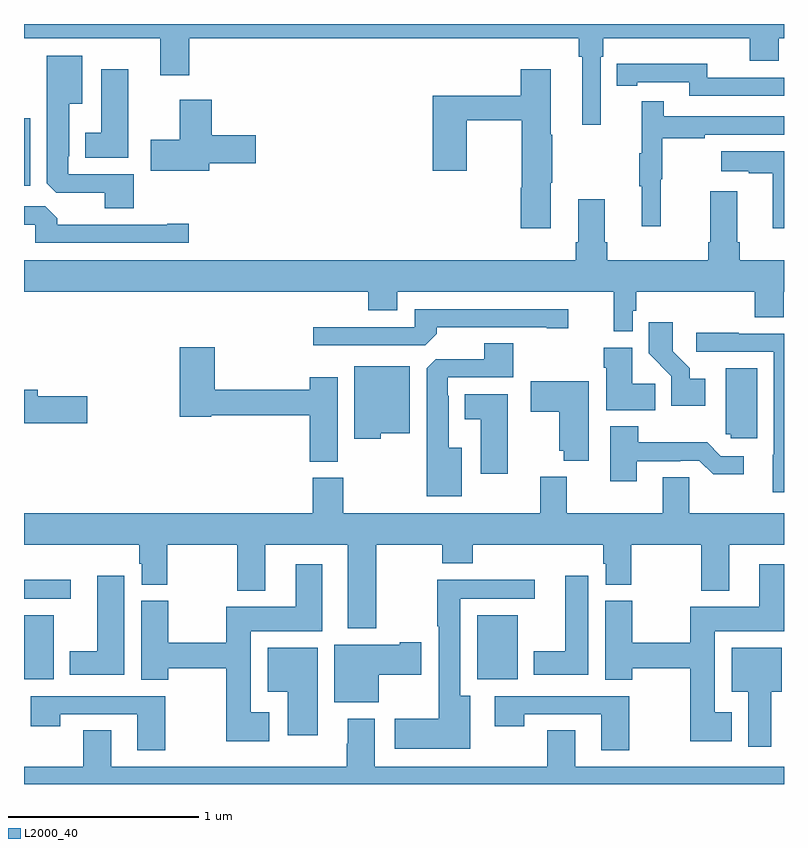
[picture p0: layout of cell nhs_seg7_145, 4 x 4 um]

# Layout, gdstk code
import gdstk
lib = gdstk.Library(unit=1e-6, precision=1e-09)
def R(c, l, rs):  # rectangles x0, y0, x1, y1
    for r in rs: c.add(gdstk.rectangle(r[:2], r[2:], *l))
def P(c, l, *ps):  # polygons
    for p in ps: c.add(gdstk.Polygon(p, *l))
L2000_40 = (2000, 40)

nhs_seg7_145 = lib.new_cell('nhs_seg7_145')
R(nhs_seg7_145, L2000_40, [(121,1022.552,121.156,1022.887), (123.386,1022.552,123.598,1022.887), (121,1022.976,121.246,1023.074), (121,1025.15,121.033,1025.503)])
P(nhs_seg7_145, L2000_40, [(124.035,1025.828),(124.049,1025.828),(124.049,1025.924),(124.82,1025.924),(124.82,1025.807),(124.973,1025.807),(124.973,1025.924),(125,1025.924),(125,1026),(121,1026),(121,1025.924),(121.718,1025.924),(121.718,1025.73),(121.871,1025.73),(121.871,1025.924),(123.919,1025.924),(123.919,1025.828),(123.938,1025.828),(123.938,1025.469),(124.035,1025.469)],
  [(121.577,1025.208),(121.233,1025.208),(121.233,1025.305),(121.237,1025.305),(121.237,1025.579),(121.306,1025.579),(121.306,1025.833),(121.121,1025.833),(121.121,1025.161),(121.17,1025.112),(121.424,1025.112),(121.424,1025.029),(121.577,1025.029)],
  [(125,1025.718),(124.596,1025.718),(124.596,1025.791),(124.228,1025.791),(124.228,1025.79),(124.12,1025.79),(124.12,1025.674),(124.228,1025.674),(124.228,1025.694),(124.5,1025.694),(124.5,1025.622),(125,1025.622)],
  [(121.549,1025.761),(121.406,1025.761),(121.406,1025.428),(121.322,1025.428),(121.322,1025.297),(121.549,1025.297)],
  [(123.772,1025.164),(123.78,1025.164),(123.78,1025.417),(123.772,1025.417),(123.772,1025.761),(123.614,1025.761),(123.614,1025.623),(123.152,1025.623),(123.152,1025.228),(123.33,1025.228),(123.33,1025.494),(123.619,1025.494),(123.619,1025.138),(123.614,1025.138),(123.614,1024.926),(123.772,1024.926)],
  [(121.975,1025.267),(122.221,1025.267),(122.221,1025.414),(121.988,1025.414),(121.988,1025.602),(121.82,1025.602),(121.82,1025.391),(121.668,1025.391),(121.668,1025.228),(121.975,1025.228)],
  [(124.352,1025.184),(124.36,1025.184),(124.36,1025.398),(124.583,1025.398),(124.583,1025.418),(125,1025.418),(125,1025.514),(124.367,1025.514),(124.367,1025.593),(124.25,1025.593),(124.25,1025.321),(124.239,1025.321),(124.239,1025.147),(124.25,1025.147),(124.25,1024.935),(124.352,1024.935)],
  [(125,1025.329),(124.671,1025.329),(124.671,1025.225),(124.814,1025.225),(124.814,1025.215),(124.94,1025.215),(124.94,1024.926),(125,1024.926)],
  [(124.203,1024.491),(124.223,1024.491),(124.223,1024.592),(124.847,1024.592),(124.847,1024.456),(124.999,1024.456),(124.999,1024.592),(125,1024.592),(125,1024.756),(124.766,1024.756),(124.766,1024.852),(124.753,1024.852),(124.753,1025.119),(124.613,1025.119),(124.613,1024.852),(124.601,1024.852),(124.601,1024.756),(124.07,1024.756),(124.07,1024.852),(124.057,1024.852),(124.057,1025.077),(123.917,1025.077),(123.917,1024.852),(123.905,1024.852),(123.905,1024.756),(121,1024.756),(121,1024.592),(122.813,1024.592),(122.813,1024.493),(122.965,1024.493),(122.965,1024.592),(124.105,1024.592),(124.105,1024.382),(124.203,1024.382)],
  [(121.867,1024.949),(121.754,1024.949),(121.754,1024.944),(121.175,1024.944),(121.175,1024.978),(121.113,1025.04),(121,1025.04),(121,1024.944),(121.059,1024.944),(121.059,1024.848),(121.867,1024.848)],
  [(123.173,1024.37),(123.173,1024.404),(123.752,1024.404),(123.752,1024.399),(123.865,1024.399),(123.865,1024.5),(123.057,1024.5),(123.057,1024.404),(122.523,1024.404),(122.523,1024.308),(123.111,1024.308)],
  [(124.585,1024.132),(124.504,1024.132),(124.504,1024.187),(124.414,1024.277),(124.414,1024.429),(124.288,1024.429),(124.288,1024.266),(124.407,1024.147),(124.407,1023.992),(124.585,1023.992)],
  [(125,1024.371),(124.763,1024.371),(124.763,1024.374),(124.539,1024.374),(124.539,1024.275),(124.947,1024.275),(124.947,1023.732),(124.94,1023.732),(124.94,1023.536),(125,1023.536)],
  [(123.304,1023.769),(123.235,1023.769),(123.235,1024.043),(123.231,1024.043),(123.231,1024.14),(123.575,1024.14),(123.575,1024.319),(123.422,1024.319),(123.422,1024.236),(123.168,1024.236),(123.119,1024.187),(123.119,1023.515),(123.304,1023.515)],
  [(122.65,1024.141),(122.504,1024.141),(122.504,1024.076),(122.003,1024.076),(122.003,1024.3),(121.82,1024.3),(121.82,1023.932),(121.986,1023.932),(121.986,1023.94),(122.504,1023.94),(122.504,1023.697),(122.65,1023.697)],
  [(124.322,1024.106),(124.201,1024.106),(124.201,1024.297),(124.052,1024.297),(124.052,1024.19),(124.064,1024.19),(124.064,1023.968),(124.322,1023.968)],
  [(122.877,1023.845),(123.031,1023.845),(123.031,1024.198),(122.738,1024.198),(122.738,1023.818),(122.877,1023.818)],
  [(124.858,1024.189),(124.694,1024.189),(124.694,1023.84),(124.719,1023.84),(124.719,1023.819),(124.858,1023.819)],
  [(123.973,1024.12),(123.666,1024.12),(123.666,1023.958),(123.818,1023.958),(123.818,1023.755),(123.841,1023.755),(123.841,1023.701),(123.973,1023.701)],
  [(121.333,1024.04),(121.072,1024.04),(121.072,1024.076),(121,1024.076),(121,1023.898),(121.333,1023.898)],
  [(123.547,1024.051),(123.32,1024.051),(123.32,1023.92),(123.404,1023.92),(123.404,1023.633),(123.547,1023.633)],
  [(124.225,1023.699),(124.454,1023.699),(124.454,1023.702),(124.554,1023.702),(124.627,1023.629),(124.789,1023.629),(124.789,1023.726),(124.668,1023.726),(124.595,1023.799),(124.233,1023.799),(124.233,1023.883),(124.085,1023.883),(124.085,1023.594),(124.225,1023.594)],
  [(122.853,1023.26),(123.202,1023.26),(123.202,1023.161),(123.362,1023.161),(123.362,1023.26),(124.049,1023.26),(124.049,1023.159),(124.061,1023.159),(124.061,1023.049),(124.197,1023.049),(124.197,1023.26),(124.564,1023.26),(124.564,1023.017),(124.711,1023.017),(124.711,1023.26),(125,1023.26),(125,1023.424),(124.5,1023.424),(124.5,1023.614),(124.361,1023.614),(124.361,1023.424),(123.856,1023.424),(123.856,1023.616),(123.716,1023.616),(123.716,1023.424),(122.679,1023.424),(122.679,1023.612),(122.519,1023.612),(122.519,1023.424),(121,1023.424),(121,1023.26),(121.607,1023.26),(121.607,1023.159),(121.619,1023.159),(121.619,1023.049),(121.755,1023.049),(121.755,1023.26),(122.122,1023.26),(122.122,1023.017),(122.269,1023.017),(122.269,1023.26),(122.705,1023.26),(122.705,1022.819),(122.853,1022.819)],
  [(122.29,1022.377),(122.194,1022.377),(122.194,1022.804),(122.569,1022.804),(122.569,1023.157),(122.429,1023.157),(122.429,1022.932),(122.065,1022.932),(122.065,1022.744),(121.758,1022.744),(121.758,1022.964),(121.616,1022.964),(121.616,1022.548),(121.758,1022.548),(121.758,1022.608),(122.065,1022.608),(122.065,1022.225),(122.29,1022.225)],
  [(124.726,1022.377),(124.636,1022.377),(124.636,1022.804),(125,1022.804),(125,1023.157),(124.871,1023.157),(124.871,1022.932),(124.507,1022.932),(124.507,1022.744),(124.2,1022.744),(124.2,1022.964),(124.058,1022.964),(124.058,1022.548),(124.2,1022.548),(124.2,1022.608),(124.507,1022.608),(124.507,1022.225),(124.726,1022.225)],
  [(123.97,1023.097),(123.848,1023.097),(123.848,1022.698),(123.683,1022.698),(123.683,1022.576),(123.97,1022.576)],
  [(121.528,1023.097),(121.385,1023.097),(121.385,1022.698),(121.241,1022.698),(121.241,1022.576),(121.528,1022.576)],
  [(123.349,1022.464),(123.295,1022.464),(123.295,1022.976),(123.688,1022.976),(123.688,1023.074),(123.175,1023.074),(123.175,1022.83),(123.182,1022.83),(123.182,1022.344),(122.952,1022.344),(122.952,1022.186),(123.349,1022.186)],
  [(122.866,1022.576),(123.091,1022.576),(123.091,1022.747),(122.978,1022.747),(122.978,1022.734),(122.633,1022.734),(122.633,1022.429),(122.866,1022.429)],
  [(124.933,1022.486),(124.987,1022.486),(124.987,1022.716),(124.724,1022.716),(124.724,1022.486),(124.811,1022.486),(124.811,1022.196),(124.933,1022.196)],
  [(122.545,1022.716),(122.282,1022.716),(122.282,1022.486),(122.387,1022.486),(122.387,1022.256),(122.545,1022.256)],
  [(124.185,1022.463),(123.477,1022.463),(123.477,1022.304),(123.633,1022.304),(123.633,1022.367),(124.037,1022.367),(124.037,1022.178),(124.185,1022.178)],
  [(121.743,1022.463),(121.035,1022.463),(121.035,1022.304),(121.191,1022.304),(121.191,1022.367),(121.595,1022.367),(121.595,1022.178),(121.743,1022.178)],
  [(125,1022.092),(123.901,1022.092),(123.901,1022.282),(123.754,1022.282),(123.754,1022.092),(122.845,1022.092),(122.845,1022.344),(122.705,1022.344),(122.705,1022.213),(122.698,1022.213),(122.698,1022.092),(121.459,1022.092),(121.459,1022.282),(121.312,1022.282),(121.312,1022.092),(121,1022.092),(121,1022),(125,1022)])

lib.write_gds('nhs_seg7_145.gds')
